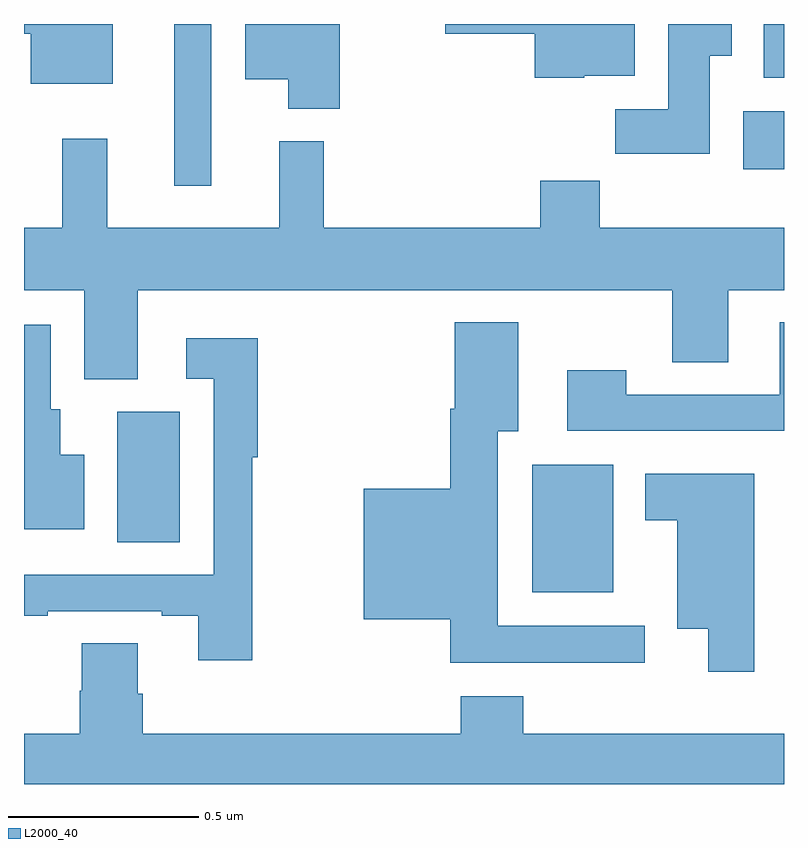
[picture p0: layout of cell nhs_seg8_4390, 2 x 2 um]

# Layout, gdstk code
import gdstk
lib = gdstk.Library(unit=1e-6, precision=1e-09)
def R(c, l, rs):  # rectangles x0, y0, x1, y1
    for r in rs: c.add(gdstk.rectangle(r[:2], r[2:], *l))
def P(c, l, *ps):  # polygons
    for p in ps: c.add(gdstk.Polygon(p, *l))
L2000_40 = (2000, 40)

nhs_seg8_4390 = lib.new_cell('nhs_seg8_4390')
R(nhs_seg8_4390, L2000_40, [(171.338,1082.405,171.55,1082.74), (170.246,1082.536,170.41,1082.88), (170.396,1083.474,170.493,1083.9), (171.893,1083.518,172,1083.67), (171.947,1083.758,172,1083.9)])
P(nhs_seg8_4390, L2000_40, [(171.805,1083.817),(171.862,1083.817),(171.862,1083.9),(171.695,1083.9),(171.695,1083.676),(171.556,1083.676),(171.556,1083.558),(171.805,1083.558)],
  [(170.233,1083.9),(170,1083.9),(170,1083.875),(170.018,1083.875),(170.018,1083.743),(170.233,1083.743)],
  [(171.474,1083.764),(171.607,1083.764),(171.607,1083.9),(171.108,1083.9),(171.108,1083.875),(171.344,1083.875),(171.344,1083.758),(171.474,1083.758)],
  [(170.831,1083.9),(170.582,1083.9),(170.582,1083.755),(170.696,1083.755),(170.696,1083.677),(170.831,1083.677)],
  [(170.299,1083.2),(171.706,1083.2),(171.706,1083.01),(171.853,1083.01),(171.853,1083.2),(172,1083.2),(172,1083.364),(171.515,1083.364),(171.515,1083.488),(171.359,1083.488),(171.359,1083.364),(170.789,1083.364),(170.789,1083.592),(170.672,1083.592),(170.672,1083.364),(170.219,1083.364),(170.219,1083.598),(170.101,1083.598),(170.101,1083.364),(170,1083.364),(170,1083.2),(170.159,1083.2),(170.159,1082.965),(170.299,1082.965)],
  [(171.634,1082.316),(171.247,1082.316),(171.247,1082.828),(171.301,1082.828),(171.301,1083.115),(171.134,1083.115),(171.134,1082.888),(171.122,1082.888),(171.122,1082.677),(170.894,1082.677),(170.894,1082.333),(171.122,1082.333),(171.122,1082.219),(171.634,1082.219)],
  [(172,1083.115),(171.989,1083.115),(171.989,1082.925),(171.585,1082.925),(171.585,1082.989),(171.429,1082.989),(171.429,1082.829),(172,1082.829)],
  [(170.158,1082.767),(170.095,1082.767),(170.095,1082.886),(170.07,1082.886),(170.07,1083.108),(170,1083.108),(170,1082.571),(170.158,1082.571)],
  [(170.6,1082.76),(170.615,1082.76),(170.615,1083.073),(170.427,1083.073),(170.427,1082.967),(170.499,1082.967),(170.499,1082.451),(170,1082.451),(170,1082.343),(170.063,1082.343),(170.063,1082.355),(170.363,1082.355),(170.363,1082.343),(170.459,1082.343),(170.459,1082.226),(170.6,1082.226)],
  [(171.922,1082.716),(171.635,1082.716),(171.635,1082.594),(171.719,1082.594),(171.719,1082.309),(171.8,1082.309),(171.8,1082.196),(171.922,1082.196)],
  [(172,1082.032),(171.314,1082.032),(171.314,1082.131),(171.149,1082.131),(171.149,1082.032),(170.312,1082.032),(170.312,1082.138),(170.299,1082.138),(170.299,1082.27),(170.152,1082.27),(170.152,1082.145),(170.147,1082.145),(170.147,1082.032),(170,1082.032),(170,1081.9),(172,1081.9)])

lib.write_gds('nhs_seg8_4390.gds')
